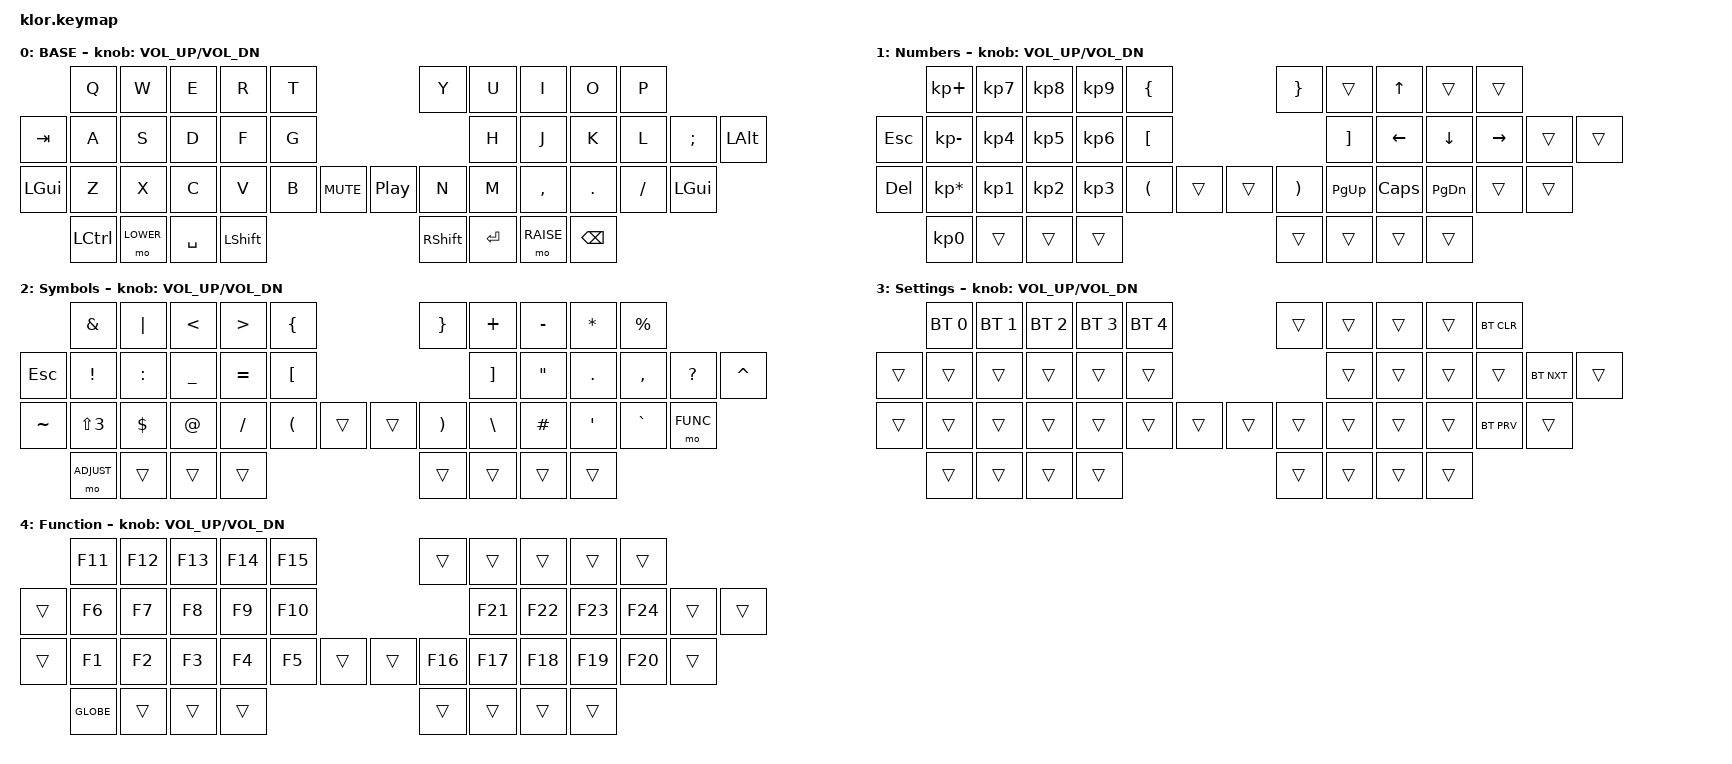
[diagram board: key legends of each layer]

//                               █         █    █            ▄▄▄▀▀▀▀▀▀▄▄▄        █▀▀▀▀▀▀▀▀▀▀█
//                               █        █     █          ▄▀            ▀▄      █          █
//                               █       █      █        ▄▀                ▀▄    █          █
//                               █      █       █        █                  █    █          █
//                               █     █        █       █                    █   █          █
//                               █    █         █       █                    █   █▄▄▄▄▄▄▄▄▄▄█
//                               █   █ █        █       █                    █   █      █
//                               █  █   █       █        █                  █    █       █
//                               █ █     █      █        ▀▄                ▄▀    █        █
//                               ██       █     █          ▀▄            ▄▀      █         █
//                               █         █    █▄▄▄▄▄▄▄▄    ▀▀▀▄▄▄▄▄▄▀▀▀        █          █
//
// ▄▄▄▄▄▄▄▄▄▄▄▄▄▄▄▄▄▄▄▄▄▄▄▄▄▄▄▄▄▄▄▄▄▄▄▄▄▄▄▄▄▄▄▄▄▄▄▄▄▄▄▄▄▄▄▄▄▄▄▄▄▄▄▄▄▄▄▄▄▄▄▄▄▄▄▄▄▄▄▄▄▄▄▄▄▄▄▄▄▄▄▄▄▄▄▄▄▄▄▄▄▄▄▄▄▄▄▄▄▄▄▄▄▄▄▄▄▄▄▄▄▄▄▄▄
       
#include <behaviors.dtsi>
#include <dt-bindings/zmk/keys.h>
#include <dt-bindings/zmk/bt.h>
#include <dt-bindings/zmk/outputs.h>
#include <dt-bindings/zmk/ext_power.h>
#include <dt-bindings/zmk/rgb.h>


#define BASE   0
#define LOWER  1
#define RAISE  2
#define ADJUST 3
#define FUNC 4
 
/ {

        keymap {
                compatible = "zmk,keymap";
// ▄▄▄▄▄▄▄▄▄▄▄▄▄▄▄▄▄▄▄▄▄▄▄▄▄▄▄▄▄▄▄▄▄▄▄▄▄▄▄▄▄▄▄▄▄▄▄▄▄▄▄▄▄▄▄▄▄▄▄▄▄▄▄▄▄▄▄▄▄▄▄▄▄▄▄▄▄▄▄▄▄▄▄▄▄▄▄▄▄▄▄▄▄▄▄▄▄▄▄▄▄▄▄▄▄▄▄▄▄▄▄▄▄▄▄▄▄▄▄▄▄▄▄▄▄▄▄▄▄▄▄▄▄▄▄▄▄▄▄▄▄▄

 
                base_layer {
// ┌───────────────────────────────────────────────────────────┐
label= "BASE"                                                  ;
// └───────────────────────────────────────────────────────────┘
/*           ┌─────────┬─────────┬─────────┬─────────┬─────────┐                    ┌─────────┬─────────┬─────────┬─────────┬─────────┐
             │    Q    │    W    │    E    │    R    │    T    │                    │    y    │    U    │    I    │    O    │    P    │   
   ┌─────────┼─────────┼─────────┼─────────┼─────────┼─────────┤                    ├─────────┼─────────┼─────────┼─────────┼─────────┼─────────┐
   │   TAB   │    A    │    S    │    D    │    F    │    G    │                    │    H    │    J    │    K    │    L    │    ;    │  alt    │
   ├─────────┼─────────┼─────────┼─────────┼─────────┼─────────┤╭────────╮╭────────╮├─────────┼─────────┼─────────┼─────────┼─────────┼─────────┤
   │   CMD   │    Z    │    X    │    C    │    V    │    B    ││  MUTE  ││PLY/PSE ││    N    │    M    │    ,    │    .    │    /    │ CMD     │
   └─────────┴─────────┴─────────┼─────────┼─────────┼─────────┼╰────────╯╰────────╯┼─────────┼─────────┼─────────┼─────────┴─────────┴─────────┘
                                 │  CTRL   │  LOWER  │  SPACE  │   shift ││ shift   │  ENTER  │  RAISE  │backspace│  
                                 └─────────┴─────────┴─────────┴─────────┘└─────────┴─────────┴─────────┴─────────┘ */ 
 bindings = <
 //╷         ╷         ╷         ╷         ╷         ╷         ╷         ╷╷         ╷         ╷         ╷         ╷         ╷         ╷         ╷
              &kp Q     &kp W     &kp E     &kp R     &kp T                            &kp Y    &kp U     &kp I     &kp O     &kp P
    &kp TAB   &kp A     &kp S     &kp D     &kp F       &kp G                          &kp H    &kp J     &kp K     &kp L     &kp SEMI &kp LALT
    &kp LGUI   &kp Z     &kp X     &kp C     &kp V     &kp B     &kp C_MUTE &kp C_PP   &kp N   &kp M     &kp COMMA &kp DOT   &kp FSLH  &kp LGUI
                                  &kp LCTRL &mo LOWER &kp SPACE &kp LSHIFT    &kp RSHIFT   &kp RET   &mo RAISE    &kp BSPC
                        >;
            sensor-bindings = <&inc_dec_kp C_VOL_UP C_VOL_DN>;
                };


// ▄▄▄▄▄▄▄▄▄▄▄▄▄▄▄▄▄▄▄▄▄▄▄▄▄▄▄▄▄▄▄▄▄▄▄▄▄▄▄▄▄▄▄▄▄▄▄▄▄▄▄▄▄▄▄▄▄▄▄▄▄▄▄▄▄▄▄▄▄▄▄▄▄▄▄▄▄▄▄▄▄▄▄▄▄▄▄▄▄▄▄▄▄▄▄▄▄▄▄▄▄▄▄▄▄▄▄▄▄▄▄▄▄▄▄▄▄▄▄▄▄▄▄▄▄▄▄▄▄▄▄▄▄▄▄▄▄▄▄▄▄▄



                lower_layer {
// ┌───────────────────────────────────────────────────────────┐
label= "Numbers"                                               ;
// └───────────────────────────────────────────────────────────┘
/*           ┌─────────┬─────────┬─────────┬─────────┬─────────┐                    ┌─────────┬─────────┬─────────┬─────────┬─────────┐
             │    +    │     7   │    8    │    9    │    {    │                    │    }    │         │   up    │         │         │
   ┌─────────┼─────────┼─────────┼─────────┼─────────┼─────────┤                    ├─────────┼─────────┼─────────┼─────────┼─────────┼─────────┐
   │   esc   │    -    │    4    │    5    │    6    │    [    │                    │    ]    │  left   │  down   │  right  │         │         │
   ├─────────┼─────────┼─────────┼─────────┼─────────┼─────────┤╭────────╮╭────────╮├─────────┼─────────┼─────────┼─────────┼─────────┼─────────┤
   │    DEL  │    *    │    1    │    2    │    3    │    (    ││        ││        ││    )    │  pg UP  │  Caps   │  PG dn  │         │         │
   └─────────┴─────────┴─────────┼─────────┼─────────┼─────────┼╰────────╯╰────────╯┼─────────┼─────────┼─────────┼─────────┴─────────┴─────────┘
                                 │    0    │         │         │         ││         │         │         │         │  
                                 └─────────┴─────────┴─────────┴─────────┘└─────────┴─────────┴─────────┴─────────┘ */ 
 bindings = <
 //╷         ╷         ╷         ╷         ╷         ╷         ╷         ╷╷         ╷         ╷         ╷         ╷         ╷         ╷         ╷
                        &kp KP_PLUS       &kp KP_N7        &kp KP_N8        &kp KP_N9    &kp LBRC                    &kp RBRC      &trans         &kp UP        &trans        &trans
    &kp ESC              &kp KP_MINUS      &kp KP_N4        &kp KP_N5        &kp KP_N6    &kp LBKT                    &kp RBKT      &kp LEFT       &kp DOWN      &kp RIGHT     &trans        &trans
    &kp DEL             &kp KP_MULTIPLY   &kp KP_N1        &kp KP_N2        &kp KP_N3    &kp LPAR  &trans  &trans    &kp RPAR       &kp PG_UP     &kp CAPS      &kp PG_DN     &trans &trans
                        &kp KP_N0         &trans           &trans           &trans                                   &trans        &trans         &trans        &trans  
                        >;
            sensor-bindings = <&inc_dec_kp C_VOL_UP C_VOL_DN>;
                };




// ▄▄▄▄▄▄▄▄▄▄▄▄▄▄▄▄▄▄▄▄▄▄▄▄▄▄▄▄▄▄▄▄▄▄▄▄▄▄▄▄▄▄▄▄▄▄▄▄▄▄▄▄▄▄▄▄▄▄▄▄▄▄▄▄▄▄▄▄▄▄▄▄▄▄▄▄▄▄▄▄▄▄▄▄▄▄▄▄▄▄▄▄▄▄▄▄▄▄▄▄▄▄▄▄▄▄▄▄▄▄▄▄▄▄▄▄▄▄▄▄▄▄▄▄▄


                raise_layer {
// ┌───────────────────────────────────────────────────────────┐
label= "Symbols"                                                 ;
// └───────────────────────────────────────────────────────────┘
/*           ┌─────────┬─────────┬─────────┬─────────┬─────────┐                    ┌─────────┬─────────┬─────────┬─────────┬─────────┐
             │    &    │    |    │    <    │    >    │    {    │                    │    }    │    +    │    -    │    *    │    %    │
   ┌─────────┼─────────┼─────────┼─────────┼─────────┼─────────┤                    ├─────────┼─────────┼─────────┼─────────┼─────────┼─────────┐
   │  ESC    │    !    │    :    │    _    │    =    │    [    │                    │    ]    │    "    │    .    │    ,    │    ?    │    ^    │
   ├─────────┼─────────┼─────────┼─────────┼─────────┼─────────┤╭────────╮╭────────╮├─────────┼─────────┼─────────┼─────────┼─────────┼─────────┤
   │    ~    │    £    │    $    │    @    │     /   │    (    ││        ││        ││    )    │    \    │    #    │    '    │    `    │   FUNC  │
   └─────────┴─────────┴─────────┼─────────┼─────────┼─────────┼╰────────╯╰────────╯┼─────────┼─────────┼─────────┼─────────┴─────────┴─────────┘
                                 │ ADJUST  │         │         │         ││         │         │         │         │  
                                 └─────────┴─────────┴─────────┴─────────┘└─────────┴─────────┴─────────┴─────────┘ */ 
 bindings = <
 //╷         ╷         ╷         ╷         ╷         ╷         ╷         ╷╷         ╷         ╷         ╷         ╷         ╷         ╷         ╷
              &kp AMPS  &kp PIPE  &kp LT    &kp GT    &kp LBRC                        &kp RBRC   &kp PLUS  &kp MINUS &kp STAR   &kp PRCNT     
    &kp ESC &kp EXCL  &kp COLON &kp UNDER &kp EQUAL &kp LBKT                        &kp RBKT   &kp DQT   &kp DOT   &kp COMMA  &kp QMARK    &kp CARET  
    &kp TILDE    &kp LS(N3) &kp DLLR  &kp AT    &kp FSLH    &kp LPAR &trans       &trans  &kp RPAR   &kp BSLH  &kp HASH  &kp SQT    &kp GRAVE   &mo FUNC
                                  &mo ADJUST &trans   &trans     &trans       &trans  &trans     &trans    &trans  
                        >;
                sensor-bindings = <&inc_dec_kp C_VOL_UP C_VOL_DN>;
                };

// ▄▄▄▄▄▄▄▄▄▄▄▄▄▄▄▄▄▄▄▄▄▄▄▄▄▄▄▄▄▄▄▄▄▄▄▄▄▄▄▄▄▄▄▄▄▄▄▄▄▄▄▄▄▄▄▄▄▄▄▄▄▄▄▄▄▄▄▄▄▄▄▄▄▄▄▄▄▄▄▄▄▄▄▄▄▄▄▄▄▄▄▄▄▄▄▄▄▄▄▄▄▄▄▄▄▄▄▄▄▄▄▄▄▄▄▄▄▄▄▄▄▄▄▄▄


                adjust_layer {
// ┌───────────────────────────────────────────────────────────┐
label= "Settings"                                                ;
// └───────────────────────────────────────────────────────────┘
/*           ┌─────────┬─────────┬─────────┬─────────┬─────────┐                    ┌─────────┬─────────┬─────────┬─────────┬─────────┐
             │bt 0│    │bt 1     │bt 2     │bt 3     │bt 4     │                    │         │         │         │         │bt clear │
   ┌─────────┼─────────┼─────────┼─────────┼─────────┼─────────┤                    ├─────────┼─────────┼─────────┼─────────┼─────────┼─────────┐
   │         │         │         │         │         │         │                    │         │         │         │         │bt next  │         │
   ├─────────┼─────────┼─────────┼─────────┼─────────┼─────────┤╭────────╮╭────────╮├─────────┼─────────┼─────────┼─────────┼─────────┼─────────┤
   │         │         │         │         │         │         ││        ││        ││         │         │         │         │bt pre   │         │
   └─────────┴─────────┴─────────┼─────────┼─────────┼─────────┼╰────────╯╰────────╯┼─────────┼─────────┼─────────┼─────────┴─────────┴─────────┘
                                 │         │         │         │         ││         │         │         │         │  
                                 └─────────┴─────────┴─────────┴─────────┘└─────────┴─────────┴─────────┴─────────┘ */ 
 bindings = <
 //╷         ╷         ╷         ╷         ╷         ╷         ╷         ╷╷         ╷         ╷         ╷         ╷         ╷         ╷         ╷
             &bt BT_SEL 0 &bt BT_SEL 1    &bt BT_SEL 2    &bt BT_SEL 3    &bt BT_SEL 4       &trans    &trans    &trans    &trans    &bt BT_CLR   
    &trans   &trans     &trans    &trans    &trans    &trans                                 &trans    &trans    &trans    &trans    &bt BT_NXT   &trans 
    &trans   &trans     &trans    &trans    &trans    &trans    &trans            &trans     &trans    &trans   &trans    &trans    &bt BT_PRV    &trans    
                                  &trans    &trans    &trans    &trans            &trans     &trans    &trans    &trans    
                        >;
            sensor-bindings = <&inc_dec_kp C_VOL_UP C_VOL_DN>;
                };



// ▄▄▄▄▄▄▄▄▄▄▄▄▄▄▄▄▄▄▄▄▄▄▄▄▄▄▄▄▄▄▄▄▄▄▄▄▄▄▄▄▄▄▄▄▄▄▄▄▄▄▄▄▄▄▄▄▄▄▄▄▄▄▄▄▄▄▄▄▄▄▄▄▄▄▄▄▄▄▄▄▄▄▄▄▄▄▄▄▄▄▄▄▄▄▄▄▄▄▄▄▄▄▄▄▄▄▄▄▄▄▄▄▄▄▄▄▄▄▄▄▄▄▄▄▄


                func_layer {
// ┌───────────────────────────────────────────────────────────┐
label= "Function"                                                ;
// └───────────────────────────────────────────────────────────┘
/*           ┌─────────┬─────────┬─────────┬─────────┬─────────┐                    ┌─────────┬─────────┬─────────┬─────────┬─────────┐
             │   f11   │    f12  │    f13  │    f14  │    f15  │                    │         │         │         │         │         │
   ┌─────────┼─────────┼─────────┼─────────┼─────────┼─────────┤                    ├─────────┼─────────┼─────────┼─────────┼─────────┼─────────┐
   │         │   f6    │    f7   │    f8   │    f9   │    f10  │                    │   f21   │    f22  │    f23  │    f24  │         │         │
   ├─────────┼─────────┼─────────┼─────────┼─────────┼─────────┤╭────────╮╭────────╮├─────────┼─────────┼─────────┼─────────┼─────────┼─────────┤
   │         │   f1    │    f2   │    f3   │    f4   │    f5   ││        ││        ││   f16   │    f17  │    f18  │    f19  │    f20  │         │
   └─────────┴─────────┴─────────┼─────────┼─────────┼─────────┼╰────────╯╰────────╯┼─────────┼─────────┼─────────┼─────────┴─────────┴─────────┘
                                 │  GLOBE  │         │         │         ││         │         │         │         │  
                                 └─────────┴─────────┴─────────┴─────────┘└─────────┴─────────┴─────────┴─────────┘ */ 
 bindings = <
 //╷         ╷         ╷         ╷         ╷         ╷         ╷         ╷╷         ╷         ╷         ╷         ╷         ╷         ╷         ╷
             &kp F11   &kp F12   &kp F13   &kp F14   &kp F15                        &trans    &trans    &trans    &trans    &trans   
    &trans   &kp F6    &kp F7    &kp F8    &kp F9    &kp F10                        &kp F21   &kp F22   &kp F23   &kp F24   &trans     &trans 
    &trans   &kp F1    &kp F2    &kp F3    &kp F4    &kp F5    &trans     &trans    &kp F16   &kp F17   &kp F18   &kp F19   &kp F20    &trans    
                                 &kp GLOBE &trans    &trans    &trans     &trans    &trans    &trans    &trans    
                        >;
            sensor-bindings = <&inc_dec_kp C_VOL_UP C_VOL_DN>;
                };
        };
};
